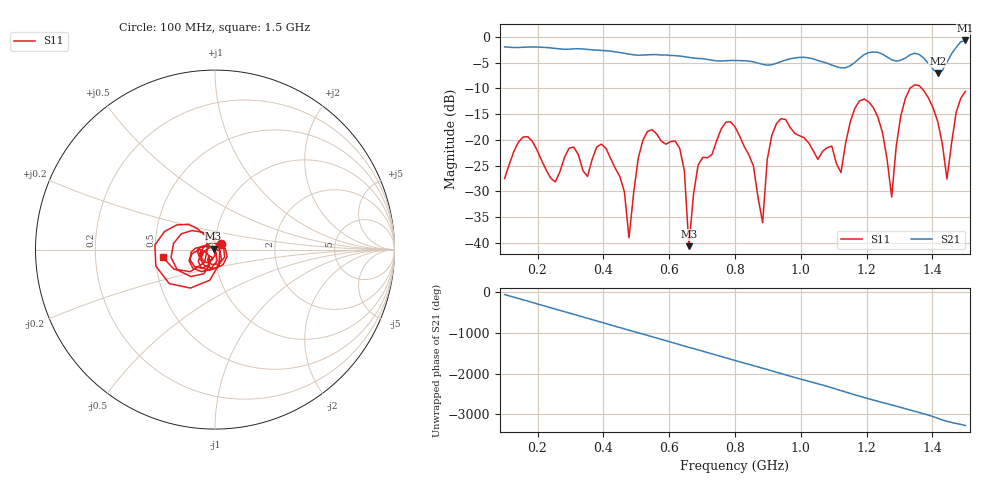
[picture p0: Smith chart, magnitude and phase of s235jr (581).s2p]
! NanoVNA-App
! Date: 2025-09-25 15:08:41
! Start: 100MHz Stop: 1,5GHz Points: 101
! S-Parameter data: F S11 S21 S12 S22
# Hz S RI R 50
!  Frequency  S11_Real  S11_Imag  S21_Real  S21_Imag  S12_Real  S12_Imag  S22_Real  S22_Imag
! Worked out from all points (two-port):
!   101 points, 100 MHz to 1.5 GHz, reference 50 ohm
!   highest |S21| = -0.72 dB at 1.5 GHz (marker M1); lowest = -7.1 dB at 1.416 GHz (marker M2)
!   |S21| within 3 dB of the highest: start of sweep to 628.8 MHz; 1.187 GHz to 1.257 GHz (69.41 MHz wide, 5.68 % of centre) (the widest 2 of 4)
!   lowest |S11| = -40.6 dB at 660 MHz (marker M3), VSWR 1.02, Z = 49.2 + j0.536 ohm
!   |S11| at or under -10 dB: start of sweep to 1.332 GHz; 1.367 GHz to end of sweep
!   S12 and S22 are empty: the file has one direction only
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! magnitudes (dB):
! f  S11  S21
! 100 MHz  -27.5  -2.0
! 156 MHz  -19.4  -2.0
! 338 MHz  -26.0  -2.4
! 408 MHz  -21.6  -2.7
! 478 MHz  -39.0  -3.4
! 520 MHz  -20.1  -3.5
! 576 MHz  -20.2  -3.5
! 632 MHz  -21.6  -3.7
! 660 MHz  -40.6  -4.0
! 688 MHz  -24.9  -4.2
! 800 MHz  -17.5  -4.6
! 884 MHz  -36.0  -5.4
! 926 MHz  -16.8  -5.1
! 1.038 GHz  -22.1  -4.3
! 1.122 GHz  -26.3  -6.0
! 1.192 GHz  -12.1  -3.5
! 1.248 GHz  -18.5  -3.4
! 1.276 GHz  -31.1  -4.5
! 1.332 GHz  -10.0  -3.5
! 1.416 GHz  -16.5  -7.1
! 1.444 GHz  -27.6  -5.0
! 1.5 GHz  -10.6  -0.7
